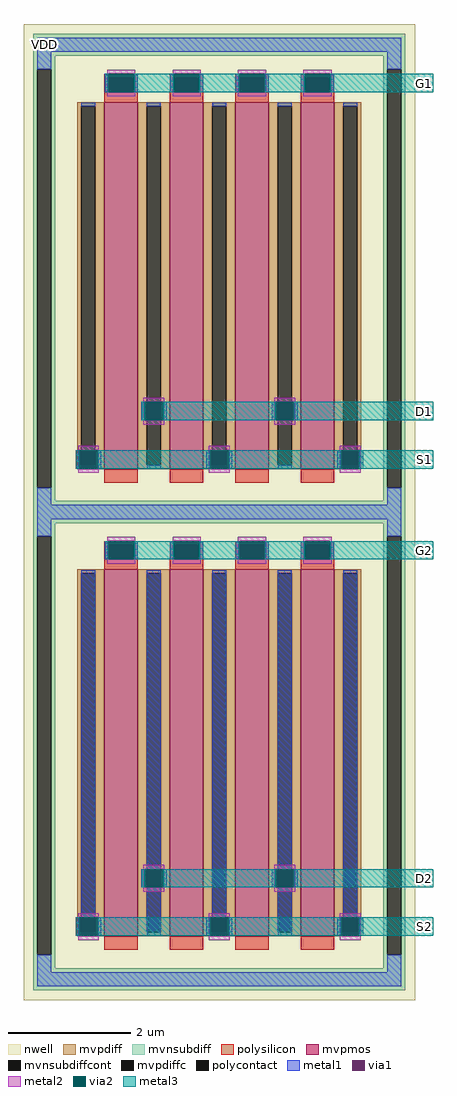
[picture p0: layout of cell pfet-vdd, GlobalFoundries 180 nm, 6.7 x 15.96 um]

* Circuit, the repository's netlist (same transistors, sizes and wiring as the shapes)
** sch_path: /foss/designs/sscs-chipathon2025-LNA/designs/libs/core_single-fet/pfet-vdd/pfet-vdd.sch
.subckt pfet-vdd VDD S1 G1 D1 S2 G2 D2
*.PININFO VDD:B S1:B G1:B D1:B S2:B G2:B D2:B
M1 D1 G1 S1 VDD pfet_06v0 L=0.55u W=6.0u nf=1 m=4
M2 D2 G2 S2 VDD pfet_06v0 L=0.55u W=6.0u nf=1 m=4
.ends

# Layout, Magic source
magic
tech gf180mcuD
magscale 1 10
<< metal1 >>
rect -23 -895 23 -849
rect 197 -1027 209 -967
rect 293 -1027 305 -967
rect 411 -1027 423 -967
rect 507 -1027 519 -967
rect 625 -1027 637 -967
rect 721 -1027 733 -967
rect 839 -1027 851 -967
rect 935 -1027 947 -967
rect 316 -2100 328 -2040
rect 388 -2100 400 -2040
rect 744 -2100 756 -2040
rect 816 -2100 828 -2040
rect 102 -2258 114 -2198
rect 174 -2258 186 -2198
rect 530 -2258 542 -2198
rect 602 -2258 614 -2198
rect 958 -2258 970 -2198
rect 1030 -2258 1042 -2198
rect 197 -2555 209 -2495
rect 293 -2555 305 -2495
rect 411 -2555 423 -2495
rect 507 -2555 519 -2495
rect 625 -2555 637 -2495
rect 721 -2555 733 -2495
rect 839 -2555 851 -2495
rect 935 -2555 947 -2495
rect 121 -3726 167 -2590
rect 335 -3568 381 -2590
rect 316 -3628 328 -3568
rect 388 -3628 400 -3568
rect 102 -3786 114 -3726
rect 174 -3786 186 -3726
rect 335 -3786 381 -3628
rect 549 -3726 595 -2590
rect 763 -3568 809 -2590
rect 744 -3628 756 -3568
rect 816 -3628 828 -3568
rect 530 -3786 542 -3726
rect 602 -3786 614 -3726
rect 763 -3786 809 -3628
rect 977 -3726 1023 -2590
rect 958 -3786 970 -3726
rect 1030 -3786 1042 -3726
<< via1 >>
rect 209 -1027 293 -967
rect 423 -1027 507 -967
rect 637 -1027 721 -967
rect 851 -1027 935 -967
rect 328 -2100 388 -2040
rect 756 -2100 816 -2040
rect 114 -2258 174 -2198
rect 542 -2258 602 -2198
rect 970 -2258 1030 -2198
rect 209 -2555 293 -2495
rect 423 -2555 507 -2495
rect 637 -2555 721 -2495
rect 851 -2555 935 -2495
rect 328 -3628 388 -3568
rect 114 -3786 174 -3726
rect 756 -3628 816 -3568
rect 542 -3786 602 -3726
rect 970 -3786 1030 -3726
<< metal2 >>
rect 205 -967 297 -953
rect 205 -1027 209 -967
rect 293 -1027 297 -967
rect 205 -1041 297 -1027
rect 419 -967 511 -953
rect 419 -1027 423 -967
rect 507 -1027 511 -967
rect 419 -1041 511 -1027
rect 633 -967 725 -953
rect 633 -1027 637 -967
rect 721 -1027 725 -967
rect 633 -1041 725 -1027
rect 847 -967 939 -953
rect 847 -1027 851 -967
rect 935 -1027 939 -967
rect 847 -1041 939 -1027
rect 324 -2040 392 -2026
rect 324 -2100 328 -2040
rect 388 -2100 392 -2040
rect 324 -2114 392 -2100
rect 752 -2040 820 -2026
rect 752 -2100 756 -2040
rect 816 -2100 820 -2040
rect 752 -2114 820 -2100
rect 110 -2198 178 -2184
rect 110 -2258 114 -2198
rect 174 -2258 178 -2198
rect 110 -2272 178 -2258
rect 538 -2198 606 -2184
rect 538 -2258 542 -2198
rect 602 -2258 606 -2198
rect 538 -2272 606 -2258
rect 966 -2198 1034 -2184
rect 966 -2258 970 -2198
rect 1030 -2258 1034 -2198
rect 966 -2272 1034 -2258
rect 205 -2495 297 -2481
rect 205 -2555 209 -2495
rect 293 -2555 297 -2495
rect 205 -2569 297 -2555
rect 419 -2495 511 -2481
rect 419 -2555 423 -2495
rect 507 -2555 511 -2495
rect 419 -2569 511 -2555
rect 633 -2495 725 -2481
rect 633 -2555 637 -2495
rect 721 -2555 725 -2495
rect 633 -2569 725 -2555
rect 847 -2495 939 -2481
rect 847 -2555 851 -2495
rect 935 -2555 939 -2495
rect 847 -2569 939 -2555
rect 324 -3568 392 -3554
rect 324 -3628 328 -3568
rect 388 -3628 392 -3568
rect 324 -3642 392 -3628
rect 752 -3568 820 -3554
rect 752 -3628 756 -3568
rect 816 -3628 820 -3568
rect 752 -3642 820 -3628
rect 110 -3726 178 -3712
rect 110 -3786 114 -3726
rect 174 -3786 178 -3726
rect 110 -3800 178 -3786
rect 538 -3726 606 -3712
rect 538 -3786 542 -3726
rect 602 -3786 606 -3726
rect 538 -3800 606 -3786
rect 966 -3726 1034 -3712
rect 966 -3786 970 -3726
rect 1030 -3786 1034 -3726
rect 966 -3800 1034 -3786
<< via2 >>
rect 209 -1027 293 -967
rect 423 -1027 507 -967
rect 637 -1027 721 -967
rect 851 -1027 935 -967
rect 328 -2100 388 -2040
rect 756 -2100 816 -2040
rect 114 -2258 174 -2198
rect 542 -2258 602 -2198
rect 970 -2258 1030 -2198
rect 209 -2555 293 -2495
rect 423 -2555 507 -2495
rect 637 -2555 721 -2495
rect 851 -2555 935 -2495
rect 328 -3628 388 -3568
rect 756 -3628 816 -3568
rect 114 -3786 174 -3726
rect 542 -3786 602 -3726
rect 970 -3786 1030 -3726
<< metal3 >>
rect 199 -1027 209 -967
rect 293 -1027 423 -967
rect 507 -1027 637 -967
rect 721 -1027 851 -967
rect 935 -1027 1272 -967
rect 318 -2100 328 -2040
rect 388 -2100 756 -2040
rect 816 -2100 1272 -2040
rect 104 -2258 114 -2198
rect 174 -2258 542 -2198
rect 602 -2258 970 -2198
rect 1030 -2258 1272 -2198
rect 199 -2555 209 -2495
rect 293 -2555 423 -2495
rect 507 -2555 637 -2495
rect 721 -2555 851 -2495
rect 935 -2555 1272 -2495
rect 318 -3628 328 -3568
rect 388 -3628 756 -3568
rect 816 -3628 1272 -3568
rect 104 -3786 114 -3726
rect 174 -3786 542 -3726
rect 602 -3786 970 -3726
rect 1030 -3786 1272 -3726
use pfet_06v0_ZXY25Q  M1
transform 1 0 572 0 1 -1636
box -640 -832 640 832
use pfet_06v0_ZXY25Q  pfet_06v0_ZXY25Q_0
transform 1 0 572 0 1 -3164
box -640 -832 640 832
<< labels >>
flabel metal1 -23 -895 23 -849 0 FreeSans 320 0 0 0 VDD
port 0 nsew
flabel metal3 1212 -1027 1272 -967 0 FreeSans 320 0 0 0 G1
port 1 nsew
flabel metal3 1212 -2100 1272 -2040 0 FreeSans 320 0 0 0 D1
port 2 nsew
flabel metal3 1212 -2258 1272 -2198 0 FreeSans 320 0 0 0 S1
port 3 nsew
flabel metal3 1212 -2555 1272 -2495 0 FreeSans 320 0 0 0 G2
port 4 nsew
flabel metal3 1212 -3628 1272 -3568 0 FreeSans 320 0 0 0 D2
port 6 nsew
flabel metal3 1212 -3786 1272 -3726 0 FreeSans 320 0 0 0 S2
port 9 nsew
<< end >>

# cell pfet_06v0_ZXY25Q: kit device pfet_06v0, w 6.0 l 0.55 m 1 nf 4 diffcov 100 polycov 100 guard 1 glc 1 grc 1 gtc 0 gbc 0 tbcov 100 rlcov 100 topc 1 botc 0 poverlap 0 doverlap 1 lmin 0.5 wmin 0.3 class mosfet full_metal 1 compatible {pfet_03v3 pfet_06v0}
